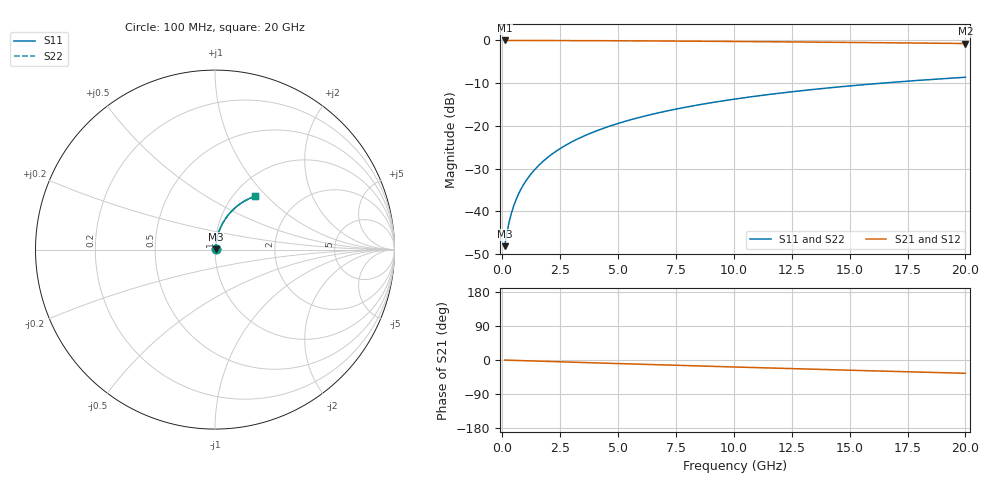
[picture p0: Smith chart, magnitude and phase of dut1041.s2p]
! Touchstone file exported from HFSS 2026.1.0
!  File:  C:/ffzhzh/LocalFiles/Ansys_Project_Files/temp_train_BSMRDL_1041_1783173765_43440.aedt
!  Generated:  10:03:54 PM Jul  4, 2026
!  Design:  BSMRDL
!  Project:  temp_train_BSMRDL_1041_1783173765_43440
! Variables:
!  h_bsmrdl = 3.95um
!  h_ox = 20um
!  h_rdl = 5um
!  h_sub = 80um
!  h_tmrdl = 5um
!  h_tsv = 80um
!  h_via = 3um
!  l_bsmrdl = 476.75um
!  l_sub = 876.75um
!  l_tmrdl = 200um
!  m_sub = 200um
!  pitch = 41.37um
!  r_tsv = 6um
!  s_tmrdl = 10um
!  w_bsmrdl = 13.95um
!  w_sub = 500um
!  w_tmrdl = 12um
!  x_tsv_center1 = 206um
!  x_tsv_center2 = 696.7um
!  x_tsv_center3 = 908.7um
!  x_tsv_center4 = 1399.4um
!  x_tsv_center5 = 1611.4um
!  x_tsv_center6 = 2102.1um
# GHz S MA R 50.000000
! Terminal data exported
! Port[1] = BSM_RDL1_1_T1
! Port[2] = BSM_RDL1_1_T2
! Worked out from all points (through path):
!   200 points, 100 MHz to 20 GHz, reference 50 ohm
!   highest |S21| = -0.03 dB at 100 MHz (marker M1); lowest = -0.7 dB at 20 GHz (marker M2)
!   group delay of S21, straight-line fit = 4.88 ps
!   lowest |S11| = -48.2 dB at 100 MHz (marker M3), VSWR 1.01, Z = 50.3 + j0.23 ohm
!   |S11| at or under -10 dB: start of sweep to 16.44 GHz
!   |S22| runs from -48.2 to -8.6 dB; largest |S21 - S12| = 2.7e-15
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0.1  0.003911 35.8  0.9968 -0.2  0.9968 -0.2  0.003911 35.8
! Gamma 0 0 0 0
! Port Impedance 50 0 50 0
0.2  0.005596 54.3  0.9968 -0.4  0.9968 -0.4  0.005596 54.3
0.3  0.007565 63.4  0.9967 -0.6  0.9967 -0.6  0.007565 63.4
0.4  0.009617 68.4  0.9965 -0.8  0.9965 -0.8  0.009617 68.4
0.5  0.0117 71.7  0.9965 -1.0  0.9965 -1.0  0.0117 71.7
0.6  0.01379 73.9  0.9964 -1.2  0.9964 -1.2  0.01379 73.9
0.8  0.01801 76.7  0.9962 -1.5  0.9962 -1.5  0.01801 76.7
1.1  0.02437 79.0  0.9959 -2.1  0.9959 -2.1  0.02437 79.0
1.5  0.0329 80.3  0.9956 -2.9  0.9956 -2.9  0.0329 80.3
1.8  0.03931 80.7  0.9952 -3.4  0.9952 -3.4  0.03931 80.7
2.1  0.04572 80.8  0.9948 -4.0  0.9948 -4.0  0.04572 80.8
2.7  0.0585 80.6  0.9939 -5.1  0.9939 -5.1  0.0585 80.6
3.5  0.07542 79.8  0.9924 -6.6  0.9924 -6.6  0.07542 79.8
4.2  0.09009 78.8  0.9908 -7.9  0.9908 -7.9  0.09009 78.8
5  0.1067 77.6  0.9887 -9.4  0.9887 -9.4  0.1067 77.6
5.9  0.125 76.1  0.986 -11.1  0.986 -11.1  0.125 76.1
6.8  0.1431 74.6  0.983 -12.7  0.983 -12.7  0.1431 74.6
8.3  0.1725 72.1  0.9775 -15.4  0.9775 -15.4  0.1725 72.1
10.1  0.2067 69.1  0.97 -18.6  0.97 -18.6  0.2067 69.1
13.4  0.2659 63.6  0.9544 -24.3  0.9544 -24.3  0.2659 63.6
16.7  0.3204 58.3  0.9368 -29.8  0.9368 -29.8  0.3204 58.3
20  0.3699 53.2  0.9179 -35.1  0.9179 -35.1  0.3699 53.2
